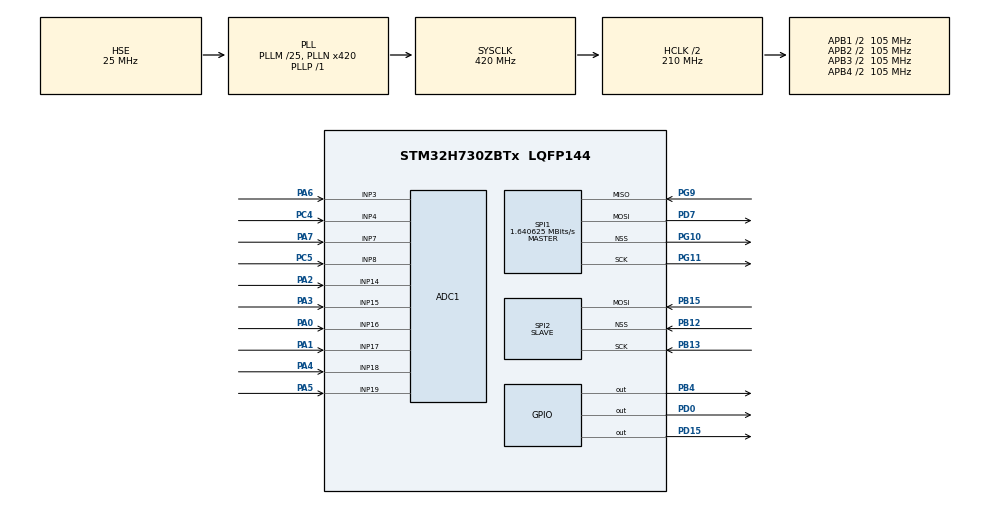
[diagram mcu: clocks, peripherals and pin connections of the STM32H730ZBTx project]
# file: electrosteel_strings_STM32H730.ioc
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ADC1.Channel-0\#ChannelRegularConversion=ADC_CHANNEL_16
ADC1.Channel-12\#ChannelRegularConversion=ADC_CHANNEL_17
ADC1.Channel-13\#ChannelRegularConversion=ADC_CHANNEL_14
ADC1.Channel-14\#ChannelRegularConversion=ADC_CHANNEL_15
ADC1.Channel-15\#ChannelRegularConversion=ADC_CHANNEL_18
ADC1.Channel-16\#ChannelRegularConversion=ADC_CHANNEL_19
ADC1.Channel-17\#ChannelRegularConversion=ADC_CHANNEL_3
ADC1.Channel-18\#ChannelRegularConversion=ADC_CHANNEL_7
ADC1.Channel-19\#ChannelRegularConversion=ADC_CHANNEL_4
ADC1.Channel-20\#ChannelRegularConversion=ADC_CHANNEL_8
ADC1.ClockPrescaler=ADC_CLOCK_ASYNC_DIV1
ADC1.ContinuousConvMode=ENABLE
ADC1.ConversionDataManagement=ADC_CONVERSIONDATA_DMA_CIRCULAR
ADC1.EOCSelection=ADC_EOC_SEQ_CONV
ADC1.ExternalTrigConv=ADC_SOFTWARE_START
ADC1.NbrOfConversion=10
ADC1.NbrOfConversionFlag=1
ADC1.OffsetNumber-0\#ChannelRegularConversion=ADC_OFFSET_NONE
ADC1.OffsetNumber-12\#ChannelRegularConversion=ADC_OFFSET_NONE
ADC1.OffsetNumber-13\#ChannelRegularConversion=ADC_OFFSET_NONE
ADC1.OffsetNumber-14\#ChannelRegularConversion=ADC_OFFSET_NONE
ADC1.OffsetNumber-15\#ChannelRegularConversion=ADC_OFFSET_NONE
ADC1.OffsetNumber-16\#ChannelRegularConversion=ADC_OFFSET_NONE
ADC1.OffsetNumber-17\#ChannelRegularConversion=ADC_OFFSET_NONE
ADC1.OffsetNumber-18\#ChannelRegularConversion=ADC_OFFSET_NONE
ADC1.OffsetNumber-19\#ChannelRegularConversion=ADC_OFFSET_NONE
ADC1.OffsetNumber-20\#ChannelRegularConversion=ADC_OFFSET_NONE
ADC1.OffsetSignedSaturation-0\#ChannelRegularConversion=DISABLE
ADC1.OffsetSignedSaturation-12\#ChannelRegularConversion=DISABLE
ADC1.OffsetSignedSaturation-13\#ChannelRegularConversion=DISABLE
ADC1.OffsetSignedSaturation-14\#ChannelRegularConversion=DISABLE
ADC1.OffsetSignedSaturation-15\#ChannelRegularConversion=DISABLE
ADC1.OffsetSignedSaturation-16\#ChannelRegularConversion=DISABLE
ADC1.OffsetSignedSaturation-17\#ChannelRegularConversion=DISABLE
ADC1.OffsetSignedSaturation-18\#ChannelRegularConversion=DISABLE
ADC1.OffsetSignedSaturation-19\#ChannelRegularConversion=DISABLE
ADC1.OffsetSignedSaturation-20\#ChannelRegularConversion=DISABLE
ADC1.Overrun=ADC_OVR_DATA_OVERWRITTEN
ADC1.OversamplingMode=ENABLE
ADC1.OversamplingStopReset=ADC_REGOVERSAMPLING_RESUMED_MODE
ADC1.Rank-0\#ChannelRegularConversion=1
ADC1.Rank-12\#ChannelRegularConversion=2
ADC1.Rank-13\#ChannelRegularConversion=3
ADC1.Rank-14\#ChannelRegularConversion=4
ADC1.Rank-15\#ChannelRegularConversion=5
ADC1.Rank-16\#ChannelRegularConversion=6
ADC1.Rank-17\#ChannelRegularConversion=7
ADC1.Rank-18\#ChannelRegularConversion=8
ADC1.Rank-19\#ChannelRegularConversion=9
ADC1.Rank-20\#ChannelRegularConversion=10
ADC1.Ratio=2
ADC1.RightBitShift=ADC_RIGHTBITSHIFT_1
ADC1.SamplingTime-0\#ChannelRegularConversion=ADC_SAMPLETIME_32CYCLES_5
ADC1.SamplingTime-12\#ChannelRegularConversion=ADC_SAMPLETIME_32CYCLES_5
ADC1.SamplingTime-13\#ChannelRegularConversion=ADC_SAMPLETIME_32CYCLES_5
ADC1.SamplingTime-14\#ChannelRegularConversion=ADC_SAMPLETIME_32CYCLES_5
ADC1.SamplingTime-15\#ChannelRegularConversion=ADC_SAMPLETIME_32CYCLES_5
ADC1.SamplingTime-16\#ChannelRegularConversion=ADC_SAMPLETIME_32CYCLES_5
ADC1.SamplingTime-17\#ChannelRegularConversion=ADC_SAMPLETIME_32CYCLES_5
ADC1.SamplingTime-18\#ChannelRegularConversion=ADC_SAMPLETIME_32CYCLES_5
ADC1.SamplingTime-19\#ChannelRegularConversion=ADC_SAMPLETIME_32CYCLES_5
ADC1.SamplingTime-20\#ChannelRegularConversion=ADC_SAMPLETIME_32CYCLES_5
ADC1.master=1
CORTEX_M7.CPU_DCache=Enabled
CORTEX_M7.CPU_ICache=Enabled
CORTEX_M7.default_mode_Activation=0
Dma.ADC1.2.Direction=DMA_PERIPH_TO_MEMORY
Dma.ADC1.2.EventEnable=DISABLE
Dma.ADC1.2.FIFOMode=DMA_FIFOMODE_ENABLE
Dma.ADC1.2.FIFOThreshold=DMA_FIFO_THRESHOLD_1QUARTERFULL
Dma.ADC1.2.Instance=DMA1_Stream2
Dma.ADC1.2.MemBurst=DMA_MBURST_SINGLE
Dma.ADC1.2.MemDataAlignment=DMA_MDATAALIGN_HALFWORD
Dma.ADC1.2.MemInc=DMA_MINC_ENABLE
Dma.ADC1.2.Mode=DMA_CIRCULAR
Dma.ADC1.2.PeriphBurst=DMA_PBURST_SINGLE
Dma.ADC1.2.PeriphDataAlignment=DMA_PDATAALIGN_HALFWORD
Dma.ADC1.2.PeriphInc=DMA_PINC_DISABLE
Dma.ADC1.2.Polarity=HAL_DMAMUX_REQ_GEN_RISING
Dma.ADC1.2.Priority=DMA_PRIORITY_MEDIUM
Dma.ADC1.2.RequestNumber=1
Dma.ADC1.2.SignalID=NONE
Dma.ADC1.2.SyncEnable=DISABLE
Dma.ADC1.2.SyncPolarity=HAL_DMAMUX_SYNC_NO_EVENT
Dma.ADC1.2.SyncRequestNumber=1
Dma.ADC1.2.SyncSignalID=NONE
Dma.Request0=SPI1_TX
Dma.Request1=SPI2_RX
Dma.Request2=ADC1
Dma.Request3=SPI1_RX
Dma.SPI1_RX.3.Direction=DMA_PERIPH_TO_MEMORY
Dma.SPI1_RX.3.EventEnable=DISABLE
Dma.SPI1_RX.3.FIFOMode=DMA_FIFOMODE_ENABLE
Dma.SPI1_RX.3.FIFOThreshold=DMA_FIFO_THRESHOLD_1QUARTERFULL
Dma.SPI1_RX.3.Instance=DMA1_Stream3
Dma.SPI1_RX.3.MemBurst=DMA_MBURST_SINGLE
Dma.SPI1_RX.3.MemDataAlignment=DMA_MDATAALIGN_BYTE
Dma.SPI1_RX.3.MemInc=DMA_MINC_ENABLE
Dma.SPI1_RX.3.Mode=DMA_NORMAL
Dma.SPI1_RX.3.PeriphBurst=DMA_PBURST_SINGLE
Dma.SPI1_RX.3.PeriphDataAlignment=DMA_PDATAALIGN_BYTE
Dma.SPI1_RX.3.PeriphInc=DMA_PINC_DISABLE
Dma.SPI1_RX.3.Polarity=HAL_DMAMUX_REQ_GEN_RISING
Dma.SPI1_RX.3.Priority=DMA_PRIORITY_VERY_HIGH
Dma.SPI1_RX.3.RequestNumber=1
Dma.SPI1_RX.3.SignalID=NONE
Dma.SPI1_RX.3.SyncEnable=DISABLE
Dma.SPI1_RX.3.SyncPolarity=HAL_DMAMUX_SYNC_NO_EVENT
Dma.SPI1_RX.3.SyncRequestNumber=1
Dma.SPI1_RX.3.SyncSignalID=NONE
Dma.SPI1_TX.0.Direction=DMA_MEMORY_TO_PERIPH
Dma.SPI1_TX.0.EventEnable=DISABLE
Dma.SPI1_TX.0.FIFOMode=DMA_FIFOMODE_ENABLE
Dma.SPI1_TX.0.FIFOThreshold=DMA_FIFO_THRESHOLD_1QUARTERFULL
Dma.SPI1_TX.0.Instance=DMA1_Stream0
Dma.SPI1_TX.0.MemBurst=DMA_MBURST_SINGLE
Dma.SPI1_TX.0.MemDataAlignment=DMA_MDATAALIGN_BYTE
Dma.SPI1_TX.0.MemInc=DMA_MINC_ENABLE
Dma.SPI1_TX.0.Mode=DMA_NORMAL
Dma.SPI1_TX.0.PeriphBurst=DMA_PBURST_SINGLE
Dma.SPI1_TX.0.PeriphDataAlignment=DMA_PDATAALIGN_BYTE
Dma.SPI1_TX.0.PeriphInc=DMA_PINC_DISABLE
Dma.SPI1_TX.0.Polarity=HAL_DMAMUX_REQ_GEN_RISING
Dma.SPI1_TX.0.Priority=DMA_PRIORITY_VERY_HIGH
Dma.SPI1_TX.0.RequestNumber=1
Dma.SPI1_TX.0.SignalID=NONE
Dma.SPI1_TX.0.SyncEnable=DISABLE
Dma.SPI1_TX.0.SyncPolarity=HAL_DMAMUX_SYNC_NO_EVENT
Dma.SPI1_TX.0.SyncRequestNumber=1
Dma.SPI1_TX.0.SyncSignalID=NONE
Dma.SPI2_RX.1.Direction=DMA_PERIPH_TO_MEMORY
Dma.SPI2_RX.1.EventEnable=DISABLE
Dma.SPI2_RX.1.FIFOMode=DMA_FIFOMODE_ENABLE
Dma.SPI2_RX.1.FIFOThreshold=DMA_FIFO_THRESHOLD_1QUARTERFULL
Dma.SPI2_RX.1.Instance=DMA1_Stream1
Dma.SPI2_RX.1.MemBurst=DMA_MBURST_SINGLE
Dma.SPI2_RX.1.MemDataAlignment=DMA_MDATAALIGN_BYTE
Dma.SPI2_RX.1.MemInc=DMA_MINC_ENABLE
Dma.SPI2_RX.1.Mode=DMA_CIRCULAR
Dma.SPI2_RX.1.PeriphBurst=DMA_PBURST_SINGLE
Dma.SPI2_RX.1.PeriphDataAlignment=DMA_PDATAALIGN_BYTE
Dma.SPI2_RX.1.PeriphInc=DMA_PINC_DISABLE
Dma.SPI2_RX.1.Polarity=HAL_DMAMUX_REQ_GEN_RISING
Dma.SPI2_RX.1.Priority=DMA_PRIORITY_HIGH
Dma.SPI2_RX.1.RequestNumber=1
Dma.SPI2_RX.1.SignalID=NONE
Dma.SPI2_RX.1.SyncEnable=DISABLE
Dma.SPI2_RX.1.SyncPolarity=HAL_DMAMUX_SYNC_NO_EVENT
Dma.SPI2_RX.1.SyncRequestNumber=1
Dma.SPI2_RX.1.SyncSignalID=NONE
Mcu.Family=STM32H7
Mcu.Name=STM32H730ZBTx
Mcu.Package=LQFP144
NVIC.ADC_IRQn=true\:3\:0\:true\:false\:true\:true\:true\:true
NVIC.DMA1_Stream0_IRQn=true\:1\:0\:true\:false\:true\:false\:true\:true
NVIC.DMA1_Stream1_IRQn=true\:2\:0\:true\:false\:true\:false\:true\:true
NVIC.DMA1_Stream2_IRQn=true\:3\:0\:true\:false\:true\:false\:true\:true
NVIC.DMA1_Stream3_IRQn=true\:1\:0\:true\:false\:true\:false\:true\:true
NVIC.PriorityGroup=NVIC_PRIORITYGROUP_4
NVIC.SPI1_IRQn=true\:1\:0\:true\:false\:true\:false\:true\:true
NVIC.SPI2_IRQn=true\:2\:0\:true\:false\:true\:false\:true\:true
PA0.Mode=IN16-Single-Ended
PA0.Signal=ADC1_INP16
PA1.Mode=IN17-Single-Ended
PA1.Signal=ADC1_INP17
PA13(JTMS/SWDIO).Mode=Trace_Asynchronous_SW
PA13(JTMS/SWDIO).Signal=DEBUG_JTMS-SWDIO
PA14(JTCK/SWCLK).Mode=Trace_Asynchronous_SW
PA14(JTCK/SWCLK).Signal=DEBUG_JTCK-SWCLK
PA2.Signal=ADCx_INP14
PA3.Signal=ADCx_INP15
PA4.Signal=ADCx_INP18
PA5.Signal=ADCx_INP19
PA6.Signal=ADCx_INP3
PA7.Signal=ADCx_INP7
PB12.GPIO_Speed=GPIO_SPEED_FREQ_HIGH
PB12.Mode=NSS_Signal_Hard_Input
PB12.Signal=SPI2_NSS
PB13.GPIO_Speed=GPIO_SPEED_FREQ_HIGH
PB13.Mode=RX_Only_Simplex_Unidirect_Slave
PB13.Signal=SPI2_SCK
PB14.GPIO_Speed=GPIO_SPEED_FREQ_HIGH
PB14.Signal=SPI2_MISO
PB15.GPIO_Speed=GPIO_SPEED_FREQ_HIGH
PB15.Mode=RX_Only_Simplex_Unidirect_Slave
PB15.Signal=SPI2_MOSI
PB3(JTDO/TRACESWO).Mode=Trace_Asynchronous_SW
PB3(JTDO/TRACESWO).Signal=DEBUG_JTDO-SWO
PB4(NJTRST).Signal=GPIO_Output
PC4.Signal=ADCx_INP4
PC5.Signal=ADCx_INP8
PD0.GPIO_Speed=GPIO_SPEED_FREQ_VERY_HIGH
PD0.Signal=GPIO_Output
PD15.GPIO_Speed=GPIO_SPEED_FREQ_VERY_HIGH
PD15.Signal=GPIO_Output
PD7.GPIO_Speed=GPIO_SPEED_FREQ_HIGH
PD7.Mode=Full_Duplex_Master
PD7.Signal=SPI1_MOSI
PG10.GPIO_Speed=GPIO_SPEED_FREQ_HIGH
PG10.Mode=NSS_Signal_Hard_Output
PG10.Signal=SPI1_NSS
PG11.GPIO_Speed=GPIO_SPEED_FREQ_HIGH
PG11.Mode=Full_Duplex_Master
PG11.Signal=SPI1_SCK
PG9.GPIO_Speed=GPIO_SPEED_FREQ_HIGH
PG9.Mode=Full_Duplex_Master
PG9.Signal=SPI1_MISO
PH0-OSC_IN.Mode=HSE-External-Oscillator
PH0-OSC_IN.Signal=RCC_OSC_IN
PH1-OSC_OUT.Mode=HSE-External-Oscillator
PH1-OSC_OUT.Signal=RCC_OSC_OUT
ProjectManager.HeapSize=0x200
ProjectManager.StackSize=0x400
ProjectManager.TargetToolchain=STM32CubeIDE
RCC.ADCCLockSelection=RCC_ADCCLKSOURCE_PLL3
RCC.ADCFreq_Value=44000000
RCC.APB1Freq_Value=105000000
RCC.APB2Freq_Value=105000000
RCC.APB3Freq_Value=105000000
RCC.APB4Freq_Value=105000000
RCC.CortexFreq_Value=420000000
RCC.D1PPRE=RCC_APB3_DIV2
RCC.D2PPRE1=RCC_APB1_DIV2
RCC.D2PPRE2=RCC_APB2_DIV2
RCC.D3PPRE=RCC_APB4_DIV2
RCC.DIVM1=25
RCC.DIVM2=25
RCC.DIVM3=25
RCC.DIVN1=420
RCC.DIVN2=420
RCC.DIVN3=220
RCC.DIVP1=1
RCC.DIVP3=4
RCC.DIVR3=5
RCC.HCLKFreq_Value=210000000
RCC.HPRE=RCC_HCLK_DIV2
RCC.PLLFRACN=0
RCC.PLLSourceVirtual=RCC_PLLSOURCE_HSE
RCC.SYSCLKFreq_VALUE=420000000
RCC.SYSCLKSource=RCC_SYSCLKSOURCE_PLLCLK
RCC.USBFreq_Value=210000000
SH.ADCx_INP14.0=ADC1_INP14,IN14-Single-Ended
SH.ADCx_INP15.0=ADC1_INP15,IN15-Single-Ended
SH.ADCx_INP18.0=ADC1_INP18,IN18-Single-Ended
SH.ADCx_INP19.0=ADC1_INP19,IN19-Single-Ended
SH.ADCx_INP3.0=ADC1_INP3,IN3-Single-Ended
SH.ADCx_INP4.0=ADC1_INP4,IN4-Single-Ended
SH.ADCx_INP7.0=ADC1_INP7,IN7-Single-Ended
SH.ADCx_INP8.0=ADC1_INP8,IN8-Single-Ended
SPI1.BaudRatePrescaler=SPI_BAUDRATEPRESCALER_128
SPI1.CalculateBaudRate=1.640625 MBits/s
SPI1.DataSize=SPI_DATASIZE_8BIT
SPI1.Direction=SPI_DIRECTION_2LINES
SPI1.Mode=SPI_MODE_MASTER
SPI1.VirtualNSS=VM_NSSHARD
SPI1.VirtualType=VM_MASTER
SPI2.DataSize=SPI_DATASIZE_8BIT
SPI2.Direction=SPI_DIRECTION_2LINES_RXONLY
SPI2.Mode=SPI_MODE_SLAVE
SPI2.VirtualNSS=VM_NSSHARD
SPI2.VirtualType=VM_SLAVE
VP_RNG_VS_RNG.Mode=RNG_Activate
board=custom

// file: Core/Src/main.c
/* USER CODE BEGIN Header */
/**
  ******************************************************************************
  * @file           : main.c
  * @brief          : Main program body
  ******************************************************************************
  * @attention
  *
  * Copyright (c) 2022 STMicroelectronics.
  * All rights reserved.
  *
  * This software is licensed under terms that can be found in the LICENSE file
  * in the root directory of this software component.
  * If no LICENSE file comes with this software, it is provided AS-IS.
  *
  ******************************************************************************
  */
/* USER CODE END Header */
#include "main.h"

/* USER CODE BEGIN Includes */
#include "leaf.h"
/* USER CODE END Includes */

/* USER CODE BEGIN PM */
#define SAMPLE_RATE 48000
/* USER CODE END PM */

ADC_HandleTypeDef hadc1;
DMA_HandleTypeDef hdma_adc1;

RNG_HandleTypeDef hrng;

SPI_HandleTypeDef hspi1;
SPI_HandleTypeDef hspi2;
DMA_HandleTypeDef hdma_spi1_tx;
DMA_HandleTypeDef hdma_spi1_rx;
DMA_HandleTypeDef hdma_spi2_rx;

/* USER CODE BEGIN PV */
uint8_t SPI_TX[8]__ATTR_RAM_D2;
uint8_t SPI_RX[8]__ATTR_RAM_D2;

uint8_t SPI_PLUCK_TX[32]__ATTR_RAM_D2;
uint8_t SPI_PLUCK_RX[32]__ATTR_RAM_D2;

//uint8_t newFirmwareBuffer[65536]__ATTR_RAM_D1;
//uint32_t newFirmwareBufferPosition = 0;

uint8_t counter;
uint16_t ADC_values1[NUM_ADC_CHANNELS * ADC_BUFFER_SIZE]__ATTR_RAM_D2;
//uint16_t ADC_values2[NUM_ADC_CHANNELS * ADC_BUFFER_SIZE]__ATTR_RAM_D2;
#define FILTER_ORDER 2
#define ATODB_TABLE_SIZE 65536
#define ATODB_TABLE_SIZE_MINUS_ONE 65535

#define SMALL_MEM_SIZE 120000
char smallMemory[SMALL_MEM_SIZE];

LEAF leaf;

float atodbTable[ATODB_TABLE_SIZE] __ATTR_RAM_D1;
//tPluckDetectorInt myPluck[NUM_ADC_CHANNELS];
tHighpass opticalHighpass[NUM_STRINGS][FILTER_ORDER];
tVZFilter opticalLowpass[NUM_STRINGS][FILTER_ORDER];
tSlide fastSlide[NUM_STRINGS];
tSlide slowSlide[NUM_STRINGS];
tThreshold threshold[NUM_STRINGS];

//volatile uint_fast8_t gettingNewFirmware = 0;
volatile uint_fast8_t SPI_busy = 0;

uint16_t stringPositions[NUM_STRINGS];
uint16_t stringTouchRH[NUM_STRINGS];
int didPlucked[NUM_STRINGS];
int stringSounding[NUM_STRINGS];

int howManyFrames = 400;
int brokedIt = 0;
int didPlucked2[NUM_STRINGS];
int pluckDelay[NUM_STRINGS];
int pluckValues[NUM_STRINGS];
uint32_t stringStates[NUM_STRINGS];
uint32_t string_values[NUM_STRINGS];
volatile uint32_t changeHappened = 0;

uint32_t timeFrame;
uint32_t frameRate;
uint32_t frameRateStart;

int RHbits[2] = {0,0};

/* USER CODE END PV */

void SystemClock_Config(void);
static void MX_GPIO_Init(void);
static void MX_DMA_Init(void);
static void MX_SPI1_Init(void);
static void MX_SPI2_Init(void);
static void MX_ADC1_Init(void);
static void MX_RNG_Init(void);

/* USER CODE BEGIN 0 */
//void MPU_Conf(void);
float randomNumber(void);
void CycleCounterInit(void);
void MPU_Conf(void);
//void loadNewFirmware(uint32_t);
/* USER CODE END 0 */

int main(void)
{
  /* USER CODE BEGIN 1 */
	MPU_Conf();
  /* USER CODE END 1 */

  /* Enable I-Cache---------------------------------------------------------*/
  SCB_EnableICache();

  /* Enable D-Cache---------------------------------------------------------*/
  SCB_EnableDCache();

  /* MCU Configuration--------------------------------------------------------*/

  /* Reset of all peripherals, Initializes the Flash interface and the Systick. */
  HAL_Init();

  /* Configure the system clock */
  SystemClock_Config();

  /* USER CODE BEGIN SysInit */
  CycleCounterInit();
  /* USER CODE END SysInit */

  /* Initialize all configured peripherals */
  MX_GPIO_Init();
  MX_DMA_Init();
  MX_SPI1_Init();
  MX_SPI2_Init();
  MX_ADC1_Init();
  MX_RNG_Init();
  /* USER CODE BEGIN 2 */
  uint32_t tempFPURegisterVal = __get_FPSCR();
   tempFPURegisterVal |= (1<<24); // set the FTZ (flush-to-zero) bit in the FPU control register
   __set_FPSCR(tempFPURegisterVal);

   for (int i = 0; i < 4; i++)
   {
 	  SPI_TX[i] = counter++;
   }

   for (int i = 0; i < 32; i++)
   {
 	  SPI_PLUCK_TX[i] = 0;
 	  SPI_PLUCK_RX[i] = 0;
   }

   HAL_SPI_Receive_DMA(&hspi2, SPI_RX, 8);

   //wait for synth boards to load code from QSPI to SRAM
   HAL_Delay(10);
   //HAL_GPIO_WritePin(GPIOC, GPIO_PIN_6, GPIO_PIN_SET);
   HAL_Delay(10);

   LEAF_init(&leaf, SAMPLE_RATE, smallMemory, SMALL_MEM_SIZE, &randomNumber);

   for (int i = 0; i < NUM_STRINGS; i++)
   {
		tThreshold_init(&threshold[i],700.0f, 1300.0f, &leaf);
		tSlide_init(&fastSlide[i],1.0f,400.0f, &leaf); //1110
		tSlide_init(&slowSlide[i],1.0f,700.0f, &leaf); //1110

		for (int j = 0; j < FILTER_ORDER; j++)
		{
			tVZFilter_init(&opticalLowpass[i][j], Lowpass, 10000.0f, 0.8f, &leaf);//6000
			tHighpass_init(&opticalHighpass[i][j], 10.0f, &leaf);//100
		}
   }

   LEAF_generate_atodb(atodbTable, ATODB_TABLE_SIZE);

   HAL_ADC_Start_DMA(&hadc1,(uint32_t*)&ADC_values1,NUM_ADC_CHANNELS * ADC_BUFFER_SIZE);
   //HAL_ADC_Start_DMA(&hadc2,(uint16_t*)&ADC_values2,NUM_ADC_CHANNELS * ADC_BUFFER_SIZE);
   //HAL_TIM_PWM_Start(&htim3, TIM_CHANNEL_1);

  /* USER CODE END 2 */

  /* Infinite loop */
  /* USER CODE BEGIN WHILE */
   while (1)
   {
		if (changeHappened)
		{
			if (!SPI_busy)// && (!gettingNewFirmware))
			{
				for (int j = 0; j < NUM_STRINGS; ++j)
				{
					SPI_PLUCK_TX[(j * 2) + 1] = (stringStates[j] >> 8);
					SPI_PLUCK_TX[(j * 2) + 2] = (stringStates[j] & 0xff);
				}
				SPI_PLUCK_TX[0] = 254;
				SPI_PLUCK_TX[31] = 253;

				SCB_CleanDCache_by_Addr((uint32_t*)(((uint32_t)SPI_PLUCK_TX) & ~(uint32_t)0x1F), 64);
				HAL_SPI_TransmitReceive_DMA(&hspi1, SPI_PLUCK_TX, SPI_PLUCK_RX, 32);
				changeHappened = 0;
				SPI_busy = 1;
			}
		}
    /* USER CODE END WHILE */

   }
}

void SystemClock_Config(void)
{
  RCC_OscInitTypeDef RCC_OscInitStruct = {0};
  RCC_ClkInitTypeDef RCC_ClkInitStruct = {0};

  /** Supply configuration update enable
  */
  HAL_PWREx_ConfigSupply(PWR_LDO_SUPPLY);

  /** Configure the main internal regulator output voltage
  */
  __HAL_PWR_VOLTAGESCALING_CONFIG(PWR_REGULATOR_VOLTAGE_SCALE0);

  while(!__HAL_PWR_GET_FLAG(PWR_FLAG_VOSRDY)) {}

  /** Initializes the RCC Oscillators according to the specified parameters
  * in the RCC_OscInitTypeDef structure.
  */
  RCC_OscInitStruct.OscillatorType = RCC_OSCILLATORTYPE_HSI48|RCC_OSCILLATORTYPE_HSE;
  RCC_OscInitStruct.HSEState = RCC_HSE_ON;
  RCC_OscInitStruct.HSI48State = RCC_HSI48_ON;
  RCC_OscInitStruct.PLL.PLLState = RCC_PLL_ON;
  RCC_OscInitStruct.PLL.PLLSource = RCC_PLLSOURCE_HSE;
  RCC_OscInitStruct.PLL.PLLM = 25;
  RCC_OscInitStruct.PLL.PLLN = 420;
  RCC_OscInitStruct.PLL.PLLP = 1;
  RCC_OscInitStruct.PLL.PLLQ = 2;
  RCC_OscInitStruct.PLL.PLLR = 2;
  RCC_OscInitStruct.PLL.PLLRGE = RCC_PLL1VCIRANGE_0;
  RCC_OscInitStruct.PLL.PLLVCOSEL = RCC_PLL1VCOMEDIUM;
  RCC_OscInitStruct.PLL.PLLFRACN = 0;
  if (HAL_RCC_OscConfig(&RCC_OscInitStruct) != HAL_OK)
  {
    Error_Handler();
  }

  /** Initializes the CPU, AHB and APB buses clocks
  */
  RCC_ClkInitStruct.ClockType = RCC_CLOCKTYPE_HCLK|RCC_CLOCKTYPE_SYSCLK
                              |RCC_CLOCKTYPE_PCLK1|RCC_CLOCKTYPE_PCLK2
                              |RCC_CLOCKTYPE_D3PCLK1|RCC_CLOCKTYPE_D1PCLK1;
  RCC_ClkInitStruct.SYSCLKSource = RCC_SYSCLKSOURCE_PLLCLK;
  RCC_ClkInitStruct.SYSCLKDivider = RCC_SYSCLK_DIV1;
  RCC_ClkInitStruct.AHBCLKDivider = RCC_HCLK_DIV2;
  RCC_ClkInitStruct.APB3CLKDivider = RCC_APB3_DIV2;
  RCC_ClkInitStruct.APB1CLKDivider = RCC_APB1_DIV2;
  RCC_ClkInitStruct.APB2CLKDivider = RCC_APB2_DIV2;
  RCC_ClkInitStruct.APB4CLKDivider = RCC_APB4_DIV2;

  if (HAL_RCC_ClockConfig(&RCC_ClkInitStruct, FLASH_LATENCY_2) != HAL_OK)
  {
    Error_Handler();
  }
}

static void MX_ADC1_Init(void)
{

  ADC_MultiModeTypeDef multimode = {0};
  ADC_ChannelConfTypeDef sConfig = {0};

  /** Common config
  */
  hadc1.Instance = ADC1;
  hadc1.Init.ClockPrescaler = ADC_CLOCK_ASYNC_DIV1;
  hadc1.Init.Resolution = ADC_RESOLUTION_16B;
  hadc1.Init.ScanConvMode = ADC_SCAN_ENABLE;
  hadc1.Init.EOCSelection = ADC_EOC_SEQ_CONV;
  hadc1.Init.LowPowerAutoWait = DISABLE;
  hadc1.Init.ContinuousConvMode = ENABLE;
  hadc1.Init.NbrOfConversion = 10;
  hadc1.Init.DiscontinuousConvMode = DISABLE;
  hadc1.Init.ExternalTrigConv = ADC_SOFTWARE_START;
  hadc1.Init.ExternalTrigConvEdge = ADC_EXTERNALTRIGCONVEDGE_NONE;
  hadc1.Init.ConversionDataManagement = ADC_CONVERSIONDATA_DMA_CIRCULAR;
  hadc1.Init.Overrun = ADC_OVR_DATA_OVERWRITTEN;
  hadc1.Init.LeftBitShift = ADC_LEFTBITSHIFT_NONE;
  hadc1.Init.OversamplingMode = ENABLE;
  hadc1.Init.Oversampling.Ratio = 2;
  hadc1.Init.Oversampling.RightBitShift = ADC_RIGHTBITSHIFT_1;
  hadc1.Init.Oversampling.TriggeredMode = ADC_TRIGGEREDMODE_SINGLE_TRIGGER;
  hadc1.Init.Oversampling.OversamplingStopReset = ADC_REGOVERSAMPLING_RESUMED_MODE;
  if (HAL_ADC_Init(&hadc1) != HAL_OK)
  {
    Error_Handler();
  }

  /** Configure the ADC multi-mode
  */
  multimode.Mode = ADC_MODE_INDEPENDENT;
  if (HAL_ADCEx_MultiModeConfigChannel(&hadc1, &multimode) != HAL_OK)
  {
    Error_Handler();
  }

  /** Configure Regular Channel
  */
  sConfig.Channel = ADC_CHANNEL_16;
  sConfig.Rank = ADC_REGULAR_RANK_1;
  sConfig.SamplingTime = ADC_SAMPLETIME_32CYCLES_5;
  sConfig.SingleDiff = ADC_SINGLE_ENDED;
  sConfig.OffsetNumber = ADC_OFFSET_NONE;
  sConfig.Offset = 0;
  sConfig.OffsetSignedSaturation = DISABLE;
  if (HAL_ADC_ConfigChannel(&hadc1, &sConfig) != HAL_OK)
  {
    Error_Handler();
  }

  /** Configure Regular Channel
  */
  sConfig.Channel = ADC_CHANNEL_17;
  sConfig.Rank = ADC_REGULAR_RANK_2;
  if (HAL_ADC_ConfigChannel(&hadc1, &sConfig) != HAL_OK)
  {
    Error_Handler();
  }

  /** Configure Regular Channel
  */
  sConfig.Channel = ADC_CHANNEL_14;
  sConfig.Rank = ADC_REGULAR_RANK_3;
  if (HAL_ADC_ConfigChannel(&hadc1, &sConfig) != HAL_OK)
  {
    Error_Handler();
  }

  /** Configure Regular Channel
  */
  sConfig.Channel = ADC_CHANNEL_15;
  sConfig.Rank = ADC_REGULAR_RANK_4;
  if (HAL_ADC_ConfigChannel(&hadc1, &sConfig) != HAL_OK)
  {
    Error_Handler();
  }

  /** Configure Regular Channel
  */
  sConfig.Channel = ADC_CHANNEL_18;
  sConfig.Rank = ADC_REGULAR_RANK_5;
  if (HAL_ADC_ConfigChannel(&hadc1, &sConfig) != HAL_OK)
  {
    Error_Handler();
  }

  /** Configure Regular Channel
  */
  sConfig.Channel = ADC_CHANNEL_19;
  sConfig.Rank = ADC_REGULAR_RANK_6;
  if (HAL_ADC_ConfigChannel(&hadc1, &sConfig) != HAL_OK)
  {
    Error_Handler();
  }

  /** Configure Regular Channel
  */
  sConfig.Channel = ADC_CHANNEL_3;
  sConfig.Rank = ADC_REGULAR_RANK_7;
  if (HAL_ADC_ConfigChannel(&hadc1, &sConfig) != HAL_OK)
  {
    Error_Handler();
  }

  /** Configure Regular Channel
  */
  sConfig.Channel = ADC_CHANNEL_7;
  sConfig.Rank = ADC_REGULAR_RANK_8;
  if (HAL_ADC_ConfigChannel(&hadc1, &sConfig) != HAL_OK)
  {
    Error_Handler();
  }

  /** Configure Regular Channel
  */
  sConfig.Channel = ADC_CHANNEL_4;
  sConfig.Rank = ADC_REGULAR_RANK_9;
  if (HAL_ADC_ConfigChannel(&hadc1, &sConfig) != HAL_OK)
  {
    Error_Handler();
  }

  /** Configure Regular Channel
  */
  sConfig.Channel = ADC_CHANNEL_8;
  sConfig.Rank = ADC_REGULAR_RANK_10;
  if (HAL_ADC_ConfigChannel(&hadc1, &sConfig) != HAL_OK)
  {
    Error_Handler();
  }

}

static void MX_RNG_Init(void)
{

  hrng.Instance = RNG;
  hrng.Init.ClockErrorDetection = RNG_CED_ENABLE;
  if (HAL_RNG_Init(&hrng) != HAL_OK)
  {
    Error_Handler();
  }

}

static void MX_SPI1_Init(void)
{

  /* SPI1 parameter configuration*/
  hspi1.Instance = SPI1;
  hspi1.Init.Mode = SPI_MODE_MASTER;
  hspi1.Init.Direction = SPI_DIRECTION_2LINES;
  hspi1.Init.DataSize = SPI_DATASIZE_8BIT;
  hspi1.Init.CLKPolarity = SPI_POLARITY_LOW;
  hspi1.Init.CLKPhase = SPI_PHASE_1EDGE;
  hspi1.Init.NSS = SPI_NSS_HARD_OUTPUT;
  hspi1.Init.BaudRatePrescaler = SPI_BAUDRATEPRESCALER_128;
  hspi1.Init.FirstBit = SPI_FIRSTBIT_MSB;
  hspi1.Init.TIMode = SPI_TIMODE_DISABLE;
  hspi1.Init.CRCCalculation = SPI_CRCCALCULATION_DISABLE;
  hspi1.Init.CRCPolynomial = 0x0;
  hspi1.Init.NSSPMode = SPI_NSS_PULSE_ENABLE;
  hspi1.Init.NSSPolarity = SPI_NSS_POLARITY_LOW;
  hspi1.Init.FifoThreshold = SPI_FIFO_THRESHOLD_01DATA;
  hspi1.Init.TxCRCInitializationPattern = SPI_CRC_INITIALIZATION_ALL_ZERO_PATTERN;
  hspi1.Init.RxCRCInitializationPattern = SPI_CRC_INITIALIZATION_ALL_ZERO_PATTERN;
  hspi1.Init.MasterSSIdleness = SPI_MASTER_SS_IDLENESS_00CYCLE;
  hspi1.Init.MasterInterDataIdleness = SPI_MASTER_INTERDATA_IDLENESS_00CYCLE;
  hspi1.Init.MasterReceiverAutoSusp = SPI_MASTER_RX_AUTOSUSP_DISABLE;
  hspi1.Init.MasterKeepIOState = SPI_MASTER_KEEP_IO_STATE_DISABLE;
  hspi1.Init.IOSwap = SPI_IO_SWAP_DISABLE;
  if (HAL_SPI_Init(&hspi1) != HAL_OK)
  {
    Error_Handler();
  }

}

static void MX_SPI2_Init(void)
{

  /* SPI2 parameter configuration*/
  hspi2.Instance = SPI2;
  hspi2.Init.Mode = SPI_MODE_SLAVE;
  hspi2.Init.Direction = SPI_DIRECTION_2LINES_RXONLY;
  hspi2.Init.DataSize = SPI_DATASIZE_8BIT;
  hspi2.Init.CLKPolarity = SPI_POLARITY_LOW;
  hspi2.Init.CLKPhase = SPI_PHASE_1EDGE;
  hspi2.Init.NSS = SPI_NSS_HARD_INPUT;
  hspi2.Init.FirstBit = SPI_FIRSTBIT_MSB;
  hspi2.Init.TIMode = SPI_TIMODE_DISABLE;
  hspi2.Init.CRCCalculation = SPI_CRCCALCULATION_DISABLE;
  hspi2.Init.CRCPolynomial = 0x0;
  hspi2.Init.NSSPMode = SPI_NSS_PULSE_DISABLE;
  hspi2.Init.NSSPolarity = SPI_NSS_POLARITY_LOW;
  hspi2.Init.FifoThreshold = SPI_FIFO_THRESHOLD_01DATA;
  hspi2.Init.TxCRCInitializationPattern = SPI_CRC_INITIALIZATION_ALL_ZERO_PATTERN;
  hspi2.Init.RxCRCInitializationPattern = SPI_CRC_INITIALIZATION_ALL_ZERO_PATTERN;
  hspi2.Init.MasterSSIdleness = SPI_MASTER_SS_IDLENESS_00CYCLE;
  hspi2.Init.MasterInterDataIdleness = SPI_MASTER_INTERDATA_IDLENESS_00CYCLE;
  hspi2.Init.MasterReceiverAutoSusp = SPI_MASTER_RX_AUTOSUSP_DISABLE;
  hspi2.Init.MasterKeepIOState = SPI_MASTER_KEEP_IO_STATE_DISABLE;
  hspi2.Init.IOSwap = SPI_IO_SWAP_DISABLE;
  if (HAL_SPI_Init(&hspi2) != HAL_OK)
  {
    Error_Handler();
  }

}

static void MX_DMA_Init(void)
{

  /* DMA controller clock enable */
  __HAL_RCC_DMA1_CLK_ENABLE();

  /* DMA interrupt init */
  /* DMA1_Stream0_IRQn interrupt configuration */
  HAL_NVIC_SetPriority(DMA1_Stream0_IRQn, 1, 0);
  HAL_NVIC_EnableIRQ(DMA1_Stream0_IRQn);
  /* DMA1_Stream1_IRQn interrupt configuration */
  HAL_NVIC_SetPriority(DMA1_Stream1_IRQn, 2, 0);
  HAL_NVIC_EnableIRQ(DMA1_Stream1_IRQn);
  /* DMA1_Stream2_IRQn interrupt configuration */
  HAL_NVIC_SetPriority(DMA1_Stream2_IRQn, 3, 0);
  HAL_NVIC_EnableIRQ(DMA1_Stream2_IRQn);
  /* DMA1_Stream3_IRQn interrupt configuration */
  HAL_NVIC_SetPriority(DMA1_Stream3_IRQn, 1, 0);
  HAL_NVIC_EnableIRQ(DMA1_Stream3_IRQn);

}

static void MX_GPIO_Init(void)
{
  GPIO_InitTypeDef GPIO_InitStruct = {0};

  /* GPIO Ports Clock Enable */
  __HAL_RCC_GPIOH_CLK_ENABLE();
  __HAL_RCC_GPIOA_CLK_ENABLE();
  __HAL_RCC_GPIOC_CLK_ENABLE();
  __HAL_RCC_GPIOB_CLK_ENABLE();
  __HAL_RCC_GPIOD_CLK_ENABLE();
  __HAL_RCC_GPIOG_CLK_ENABLE();

  /*Configure GPIO pin Output Level */
  HAL_GPIO_WritePin(GPIOD, GPIO_PIN_15|GPIO_PIN_0, GPIO_PIN_RESET);

  /*Configure GPIO pin Output Level */
  HAL_GPIO_WritePin(GPIOB, GPIO_PIN_4, GPIO_PIN_RESET);

  /*Configure GPIO pins : PD15 PD0 */
  GPIO_InitStruct.Pin = GPIO_PIN_15|GPIO_PIN_0;
  GPIO_InitStruct.Mode = GPIO_MODE_OUTPUT_PP;
  GPIO_InitStruct.Pull = GPIO_NOPULL;
  GPIO_InitStruct.Speed = GPIO_SPEED_FREQ_VERY_HIGH;
  HAL_GPIO_Init(GPIOD, &GPIO_InitStruct);

  /*Configure GPIO pin : PB4 */
  GPIO_InitStruct.Pin = GPIO_PIN_4;
  GPIO_InitStruct.Mode = GPIO_MODE_OUTPUT_PP;
  GPIO_InitStruct.Pull = GPIO_NOPULL;
  GPIO_InitStruct.Speed = GPIO_SPEED_FREQ_LOW;
  HAL_GPIO_Init(GPIOB, &GPIO_InitStruct);

}

/* USER CODE BEGIN 4 */
/* USER CODE BEGIN 4 */
float randomNumber(void) {

	uint32_t rand;
	HAL_RNG_GenerateRandomNumber(&hrng, &rand);
	float num = (float)rand * INV_TWO_TO_32;
	return num;
}

void MPU_Conf(void)
{
	//code from Keshikan https://github.com/keshikan/STM32H7_DMA_sample
  //Thanks, Keshikan! This solves the issues with accessing the SRAM in the D2 area properly. -JS
	//should test the different possible settings to see what works best while avoiding needing to manually clear the cache -JS

	MPU_Region_InitTypeDef MPU_InitStruct;

	  HAL_MPU_Disable();

	  MPU_InitStruct.Enable = MPU_REGION_ENABLE;

	  //D2 Domain�SRAM1
	  MPU_InitStruct.BaseAddress = 0x30000000;
	  // Increased region size to 256k. In Keshikan's code, this was 512 bytes (that's all that application needed).
	  // Each audio buffer takes up the frame size * 8 (16 bits makes it *2 and stereo makes it *2 and double buffering makes it *2)
	  // So a buffer size for read/write of 4096 would take up 64k = 4096*8 * 2 (read and write).
	  // I increased that to 256k so that there would be room for the ADC knob inputs and other peripherals that might require DMA access.
	  // we have a total of 256k in SRAM1 (128k, 0x30000000-0x30020000) and SRAM2 (128k, 0x30020000-0x3004000) of D2 domain.
	  // There is an SRAM3 in D2 domain as well (32k, 0x30040000-0x3004800) that is currently not mapped by the MPU (memory protection unit) controller.

	  MPU_InitStruct.Size = MPU_REGION_SIZE_32KB;

	  MPU_InitStruct.AccessPermission = MPU_REGION_FULL_ACCESS;

	  //AN4838
	  MPU_InitStruct.TypeExtField = MPU_TEX_LEVEL0;
	  MPU_InitStruct.IsCacheable = MPU_ACCESS_NOT_CACHEABLE;
	  MPU_InitStruct.IsBufferable = MPU_ACCESS_NOT_BUFFERABLE;
	  MPU_InitStruct.IsShareable = MPU_ACCESS_SHAREABLE;

	  //Shared Device
//	  MPU_InitStruct.TypeExtField = MPU_TEX_LEVEL0;
//	  MPU_InitStruct.IsCacheable = MPU_ACCESS_NOT_CACHEABLE;
//	  MPU_InitStruct.IsBufferable = MPU_ACCESS_BUFFERABLE;
//	  MPU_InitStruct.IsShareable = MPU_ACCESS_SHAREABLE;

	  MPU_InitStruct.Number = MPU_REGION_NUMBER0;

	  MPU_InitStruct.SubRegionDisable = 0x00;

	  MPU_InitStruct.DisableExec = MPU_INSTRUCTION_ACCESS_DISABLE;

	  HAL_MPU_ConfigRegion(&MPU_InitStruct);

	  HAL_MPU_Enable(MPU_PRIVILEGED_DEFAULT);
}

float Dsmoothed;
float Dsmoothed2;
float dbSmoothed2;
float dbSmoothedStorage;
int armed[NUM_STRINGS] = {0,0,0,0,0,0,0,0,0,0};
float prevdbSmoothed2[NUM_STRINGS];
int threshOut = 0;
int stringMaxes[NUM_STRINGS] = {0,0,0,0,0,0,0,0,0,0};
int downCounter[NUM_STRINGS];
int armedCounter[NUM_STRINGS];
float slopeStorage[NUM_STRINGS];
float integerVersions[NUM_STRINGS];
int attackDetectPeak2 (int whichString, int tempInt)
{
	float output = -1.0f;
	float tempSamp = (((float)tempInt - TWO_TO_15) * INV_TWO_TO_15);
	for (int k = 0; k < FILTER_ORDER; k++)
	{
		// a highpass filter, remove any slow moving signal (effectively centers the signal around zero and gets rid of the signal that isn't high frequency vibration) cutoff of 100Hz, // applied 8 times to get rid of a lot of low frequency bumbling around
		tempSamp = tHighpass_tick(&opticalHighpass[whichString][k], tempSamp);
		tempSamp = tVZFilter_tick(&opticalLowpass[whichString][k], tempSamp);
	}

	float tempAbs = fabsf(tempSamp);

	Dsmoothed = tSlide_tick(&fastSlide[whichString], tempAbs);
	Dsmoothed2 = tSlide_tick(&slowSlide[whichString], Dsmoothed);
	Dsmoothed2 = LEAF_clip(0.0f, Dsmoothed2, 1.0f);
	//dbSmoothed2 = atodb(Dsmoothed2);
	dbSmoothed2 = LEAF_clip(-39.0f, atodbTable[(uint32_t)(Dsmoothed2 * ATODB_TABLE_SIZE_MINUS_ONE)], 12.0f);//45
	if (whichString == 0)
	{
		dbSmoothedStorage = dbSmoothed2;
	}
	//dbSmoothed2 = LEAF_clip(-50.f, dbSmoothed2, 12.0f);
	//get the slope
	float slope = (dbSmoothed2 - prevdbSmoothed2[whichString]);
	slopeStorage[whichString] = slope;
	float integerVersion = Dsmoothed2 * (TWO_TO_16 - 1);
	integerVersions[whichString] = integerVersion;
	threshOut = tThreshold_tick(&threshold[whichString], integerVersion);

	if ((slope > .5f) && (threshOut > 0))//.3
	{
		armed[whichString] = 1;
	}

	if (armed[whichString] == 1)
	{
		if (integerVersion > stringMaxes[whichString])
		{
			stringMaxes[whichString] = integerVersion;
		}
		armedCounter[whichString]++;

		if (slope <= 0.0f)
		{
			downCounter[whichString]++;
		}
		if (downCounter[whichString] > 164)//was 256
		{
			//found a peak?
			output = stringMaxes[whichString] * 1.75f;
			output = LEAF_clip(0.0f, output, 65535.0f);
			armed[whichString] = 0;
			armedCounter[whichString] = 0;
			downCounter[whichString] = 0;
			stringMaxes[whichString] = 0;
		}
	}

	prevdbSmoothed2[whichString] = dbSmoothed2;
	return (int)output;
}

volatile float CPULoad = 0.0f;

void ADC_Frame(int offset)
{
	//HAL_GPIO_TogglePin(GPIOG, GPIO_PIN_11);
	HAL_GPIO_WritePin(GPIOD, GPIO_PIN_0, GPIO_PIN_SET);
	uint32_t tempCountFrame = DWT->CYCCNT;
	frameRate = DWT->CYCCNT - frameRateStart;
	frameRateStart = DWT->CYCCNT;

	for (int i = offset; i < ADC_FRAME_SIZE + offset; i++)
	{
		//for (int j = 0; j < NUM_ADC_CHANNELS; j++)
		if (howManyFrames > 0)
		{
			howManyFrames--;
		}

		for (int k = 0; k < NUM_STRINGS; k++)
		{
			string_values[k] = ADC_values1[(i*NUM_ADC_CHANNELS) + k];
		}

		for (int j = 0; j < NUM_STRINGS; j++)
		{
			int tempInt = string_values[j];

			if (j < 8)
			{
				stringTouchRH[j] = (RHbits[0] >> j) & 1;
			}
			else
			{
				stringTouchRH[j] = (RHbits[1] >> (j-8)) & 1;
			}
			didPlucked[j] = attackDetectPeak2(j, tempInt);

			if (howManyFrames == 0)
			{
				if ((didPlucked[j] > 0) && (!stringSounding[j]))
				{
					stringStates[j] = (uint16_t)didPlucked[j];
					pluckValues[j] = didPlucked[j];
					changeHappened = 1;
					stringSounding[j] = 1;
				}

				if ((stringTouchRH[j]) && (stringSounding[j]))
				{

					stringStates[j] = 0;
					pluckValues[j] = 0;
					changeHappened = 1;
					stringSounding[j] = 0;
				}

			}
		}
	}
	HAL_GPIO_WritePin(GPIOD, GPIO_PIN_0, GPIO_PIN_RESET);

	timeFrame = DWT->CYCCNT - tempCountFrame;
	CPULoad = (float)timeFrame / (float)frameRate;

}
void HAL_ADC_ConvCpltCallback(ADC_HandleTypeDef *hadc)
{
	ADC_Frame(ADC_FRAME_SIZE);
}
void HAL_ADC_ConvHalfCpltCallback(ADC_HandleTypeDef *hadc)
{
	ADC_Frame(0);
}
void HAL_ADC_Error(ADC_HandleTypeDef *hadc)
{
	;
}

//volatile uint32_t mySize  = 0;
//void loadNewFirmware(uint32_t size)
//{
//	mySize = size;
//}

void HAL_SPI_TxRxCpltCallback(SPI_HandleTypeDef *hspi)
{
	SPI_busy = 0;
}

volatile int numResets = 0;

void HAL_SPI_RxCpltCallback(SPI_HandleTypeDef *hspi)
{
	HAL_GPIO_WritePin(GPIOB, GPIO_PIN_4, GPIO_PIN_RESET);
	if ((SPI_RX[6] == 254) && (SPI_RX[7] == 253))
	{
		for (int i = 0; i < 2; i++)
		{
			RHbits[i] = SPI_RX[i+4];
		}
	}
	else
	{
		HAL_SPI_Abort(&hspi2);
		__HAL_RCC_SPI2_FORCE_RESET();
		__HAL_RCC_SPI2_RELEASE_RESET();
		MX_SPI2_Init();
		__HAL_SPI_ENABLE(&hspi2);
		HAL_SPI_Receive_DMA(&hspi2, SPI_RX, 8);
		numResets++;
	}
}

void HAL_SPI_RxHalfCpltCallback(SPI_HandleTypeDef *hspi)
{
	HAL_GPIO_WritePin(GPIOB, GPIO_PIN_4, GPIO_PIN_SET);
	if ((SPI_RX[2] == 254) && (SPI_RX[3] == 253))
	{
		for (int i = 0; i < 2; i++)
		{
			RHbits[i] = SPI_RX[i];
		}
	}
	else
	{
		HAL_SPI_Abort(&hspi2);
		__HAL_RCC_SPI2_FORCE_RESET();
		__HAL_RCC_SPI2_RELEASE_RESET();
		MX_SPI2_Init();
		__HAL_SPI_ENABLE(&hspi2);
		HAL_SPI_Receive_DMA(&hspi2, SPI_RX, 8);
		numResets++;
	}
}

// helper function to initialize measuring unit (cycle counter) */
void CycleCounterInit( void )
{
  /* Enable TRC */
  CoreDebug->DEMCR |= CoreDebug_DEMCR_TRCENA_Msk;

  /* Unlock DWT registers */
  if ((*(uint32_t*)0xE0001FB4) & 1)
    *(uint32_t*)0xE0001FB0 = 0xC5ACCE55;

  /* clear the cycle counter */
  DWT->CYCCNT = 0;

  /* start the cycle counter */
  DWT->CTRL = 0x40000001;

}
/* USER CODE END 4 */

void Error_Handler(void)
{
  __disable_irq();
  while (1)
  {
  }
}
